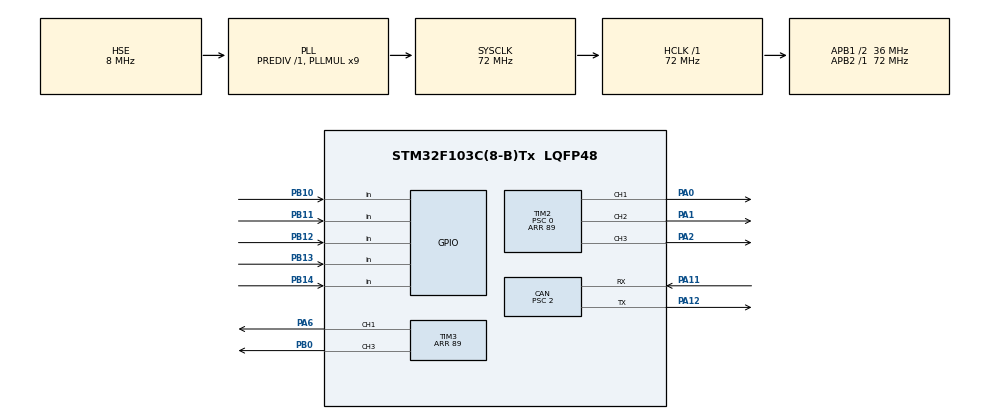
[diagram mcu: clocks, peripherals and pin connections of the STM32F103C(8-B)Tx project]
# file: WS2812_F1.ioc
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CAN.BS1=CAN_BS1_16TQ
CAN.CalculateBaudRate=1000000
CAN.CalculateTimeBit=1000
CAN.CalculateTimeQuantum=55.55555555555556
CAN.Prescaler=2
CAN.SJW=CAN_SJW_2TQ
Dma.Request0=TIM2_CH1
Dma.Request1=TIM2_CH3
Dma.Request2=TIM2_CH2/CH4
Dma.Request3=TIM3_CH1/TRIG
Dma.Request4=TIM3_CH3
Dma.TIM2_CH1.0.Direction=DMA_MEMORY_TO_PERIPH
Dma.TIM2_CH1.0.Instance=DMA1_Channel5
Dma.TIM2_CH1.0.MemDataAlignment=DMA_MDATAALIGN_HALFWORD
Dma.TIM2_CH1.0.MemInc=DMA_MINC_ENABLE
Dma.TIM2_CH1.0.Mode=DMA_NORMAL
Dma.TIM2_CH1.0.PeriphDataAlignment=DMA_PDATAALIGN_HALFWORD
Dma.TIM2_CH1.0.PeriphInc=DMA_PINC_DISABLE
Dma.TIM2_CH1.0.Priority=DMA_PRIORITY_LOW
Dma.TIM2_CH2/CH4.2.Direction=DMA_MEMORY_TO_PERIPH
Dma.TIM2_CH2/CH4.2.Instance=DMA1_Channel7
Dma.TIM2_CH2/CH4.2.MemDataAlignment=DMA_MDATAALIGN_HALFWORD
Dma.TIM2_CH2/CH4.2.MemInc=DMA_MINC_ENABLE
Dma.TIM2_CH2/CH4.2.Mode=DMA_NORMAL
Dma.TIM2_CH2/CH4.2.PeriphDataAlignment=DMA_PDATAALIGN_HALFWORD
Dma.TIM2_CH2/CH4.2.PeriphInc=DMA_PINC_DISABLE
Dma.TIM2_CH2/CH4.2.Priority=DMA_PRIORITY_LOW
Dma.TIM2_CH3.1.Direction=DMA_MEMORY_TO_PERIPH
Dma.TIM2_CH3.1.Instance=DMA1_Channel1
Dma.TIM2_CH3.1.MemDataAlignment=DMA_MDATAALIGN_HALFWORD
Dma.TIM2_CH3.1.MemInc=DMA_MINC_ENABLE
Dma.TIM2_CH3.1.Mode=DMA_NORMAL
Dma.TIM2_CH3.1.PeriphDataAlignment=DMA_PDATAALIGN_HALFWORD
Dma.TIM2_CH3.1.PeriphInc=DMA_PINC_DISABLE
Dma.TIM2_CH3.1.Priority=DMA_PRIORITY_LOW
Dma.TIM3_CH1/TRIG.3.Direction=DMA_MEMORY_TO_PERIPH
Dma.TIM3_CH1/TRIG.3.Instance=DMA1_Channel6
Dma.TIM3_CH1/TRIG.3.MemDataAlignment=DMA_MDATAALIGN_HALFWORD
Dma.TIM3_CH1/TRIG.3.MemInc=DMA_MINC_ENABLE
Dma.TIM3_CH1/TRIG.3.Mode=DMA_NORMAL
Dma.TIM3_CH1/TRIG.3.PeriphDataAlignment=DMA_PDATAALIGN_HALFWORD
Dma.TIM3_CH1/TRIG.3.PeriphInc=DMA_PINC_DISABLE
Dma.TIM3_CH1/TRIG.3.Priority=DMA_PRIORITY_LOW
Dma.TIM3_CH3.4.Direction=DMA_MEMORY_TO_PERIPH
Dma.TIM3_CH3.4.Instance=DMA1_Channel2
Dma.TIM3_CH3.4.MemDataAlignment=DMA_MDATAALIGN_HALFWORD
Dma.TIM3_CH3.4.MemInc=DMA_MINC_ENABLE
Dma.TIM3_CH3.4.Mode=DMA_NORMAL
Dma.TIM3_CH3.4.PeriphDataAlignment=DMA_PDATAALIGN_HALFWORD
Dma.TIM3_CH3.4.PeriphInc=DMA_PINC_DISABLE
Dma.TIM3_CH3.4.Priority=DMA_PRIORITY_LOW
Mcu.Family=STM32F1
Mcu.Name=STM32F103C(8-B)Tx
Mcu.Package=LQFP48
NVIC.DMA1_Channel1_IRQn=true\:0\:0\:false\:false\:true\:false\:true\:true
NVIC.DMA1_Channel2_IRQn=true\:0\:0\:false\:false\:true\:false\:true\:true
NVIC.DMA1_Channel5_IRQn=true\:0\:0\:false\:false\:true\:false\:true\:true
NVIC.DMA1_Channel6_IRQn=true\:0\:0\:false\:false\:true\:false\:true\:true
NVIC.DMA1_Channel7_IRQn=true\:0\:0\:false\:false\:true\:false\:true\:true
NVIC.PriorityGroup=NVIC_PRIORITYGROUP_4
NVIC.TIM2_IRQn=true\:0\:0\:false\:false\:true\:true\:true\:true
NVIC.USB_LP_CAN1_RX0_IRQn=true\:3\:0\:true\:false\:true\:true\:true\:true
PA0-WKUP.GPIO_Speed=GPIO_SPEED_FREQ_HIGH
PA0-WKUP.Signal=S_TIM2_CH1_ETR
PA1.GPIO_Speed=GPIO_SPEED_FREQ_HIGH
PA1.Signal=S_TIM2_CH2
PA11.Mode=CAN_Activate
PA11.Signal=CAN_RX
PA12.Mode=CAN_Activate
PA12.Signal=CAN_TX
PA13.Mode=Serial_Wire
PA13.Signal=SYS_JTMS-SWDIO
PA14.Mode=Serial_Wire
PA14.Signal=SYS_JTCK-SWCLK
PA2.GPIO_Speed=GPIO_SPEED_FREQ_HIGH
PA2.Signal=S_TIM2_CH3
PA6.GPIO_Speed=GPIO_SPEED_FREQ_HIGH
PA6.Signal=S_TIM3_CH1
PB0.GPIO_Speed=GPIO_SPEED_FREQ_HIGH
PB0.Signal=S_TIM3_CH3
PB10.GPIO_PuPd=GPIO_PULLUP
PB10.Signal=GPIO_Input
PB11.GPIO_PuPd=GPIO_PULLUP
PB11.Signal=GPIO_Input
PB12.GPIO_PuPd=GPIO_PULLUP
PB12.Signal=GPIO_Input
PB13.GPIO_PuPd=GPIO_PULLUP
PB13.Signal=GPIO_Input
PB14.GPIO_PuPd=GPIO_PULLUP
PB14.Signal=GPIO_Input
PD0-OSC_IN.Mode=HSE-External-Oscillator
PD0-OSC_IN.Signal=RCC_OSC_IN
PD1-OSC_OUT.Mode=HSE-External-Oscillator
PD1-OSC_OUT.Signal=RCC_OSC_OUT
ProjectManager.HeapSize=0x200
ProjectManager.StackSize=0x400
ProjectManager.TargetToolchain=MDK-ARM V5.32
RCC.AHBFreq_Value=72000000
RCC.APB1CLKDivider=RCC_HCLK_DIV2
RCC.APB1Freq_Value=36000000
RCC.APB1TimFreq_Value=72000000
RCC.APB2Freq_Value=72000000
RCC.APB2TimFreq_Value=72000000
RCC.HCLKFreq_Value=72000000
RCC.PLLMUL=RCC_PLL_MUL9
RCC.PLLSourceVirtual=RCC_PLLSOURCE_HSE
RCC.SYSCLKFreq_VALUE=72000000
RCC.SYSCLKSource=RCC_SYSCLKSOURCE_PLLCLK
RCC.USBFreq_Value=72000000
SH.S_TIM2_CH1_ETR.0=TIM2_CH1,PWM Generation1 CH1
SH.S_TIM2_CH2.0=TIM2_CH2,PWM Generation2 CH2
SH.S_TIM2_CH3.0=TIM2_CH3,PWM Generation3 CH3
SH.S_TIM3_CH1.0=TIM3_CH1,PWM Generation1 CH1
SH.S_TIM3_CH3.0=TIM3_CH3,PWM Generation3 CH3
TIM2.Channel-PWM\ Generation1\ CH1=TIM_CHANNEL_1
TIM2.Channel-PWM\ Generation2\ CH2=TIM_CHANNEL_2
TIM2.Channel-PWM\ Generation3\ CH3=TIM_CHANNEL_3
TIM2.Period=89
TIM2.Prescaler=0
TIM3.Channel-PWM\ Generation1\ CH1=TIM_CHANNEL_1
TIM3.Channel-PWM\ Generation3\ CH3=TIM_CHANNEL_3
TIM3.Period=89
VP_TIM2_VS_ClockSourceINT.Mode=Internal
VP_TIM3_VS_ClockSourceINT.Mode=Internal
board=custom

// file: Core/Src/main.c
/* USER CODE BEGIN Header */
/**
  ******************************************************************************
  * @file           : main.c
  * @brief          : Main program body
  ******************************************************************************
  * @attention
  *
  * Copyright (c) 2025 STMicroelectronics.
  * All rights reserved.
  *
  * This software is licensed under terms that can be found in the LICENSE file
  * in the root directory of this software component.
  * If no LICENSE file comes with this software, it is provided AS-IS.
  *
  ******************************************************************************
  */
/* USER CODE END Header */
#include "main.h"
#include "can.h"
#include "dma.h"
#include "tim.h"
#include "gpio.h"

/* USER CODE BEGIN Includes */
#include "WS2812.h"
#include "led_rings.h"
#include "can_task.h"

/* USER CODE END Includes */

/* USER CODE BEGIN PD */
/**
 * @brief GPIO
 */

/* USER CODE END PD */

/* USER CODE BEGIN PV */
static uint8_t key_lock = 0;

#define HIT_FEEDBACK_ID  0x341

uint8_t tx_data[8] = {0};
/* USER CODE END PV */

void SystemClock_Config(void);

int main(void)
{

  /* MCU Configuration--------------------------------------------------------*/

  /* Reset of all peripherals, Initializes the Flash interface and the Systick. */
  HAL_Init();

  /* Configure the system clock */
  SystemClock_Config();

  /* Initialize all configured peripherals */
  MX_GPIO_Init();
  MX_DMA_Init();
  MX_TIM2_Init();
  MX_CAN_Init();
  MX_TIM3_Init();
  /* USER CODE BEGIN 2 */
	//CAN_Filter_Init();
	WS2812_Init();
	WS2812_SetAll(255, 0, 0);
	WS2812_SendAll();

  /* USER CODE END 2 */

  /* Infinite loop */
  /* USER CODE BEGIN WHILE */
  while (1)
  {
		if (
    HAL_GPIO_ReadPin(GPIOB, GPIO_PIN_10) == GPIO_PIN_RESET ||
    HAL_GPIO_ReadPin(GPIOB, GPIO_PIN_11) == GPIO_PIN_RESET ||
    HAL_GPIO_ReadPin(GPIOB, GPIO_PIN_12) == GPIO_PIN_RESET ||
    HAL_GPIO_ReadPin(GPIOB, GPIO_PIN_13) == GPIO_PIN_RESET ||
    HAL_GPIO_ReadPin(GPIOB, GPIO_PIN_14) == GPIO_PIN_RESET)
{
    if (key_lock == 0)
    {
        key_lock = 1;

        if (a == 1)
        {
            ArmorLED_ShowOff();
            a = 0;
            RUI_F_CAN_SEDN_UNION(&hcan, HIT_FEEDBACK_ID, tx_data);
        }
    }
}
else
{
    key_lock = 0;
}
    /* USER CODE END WHILE */

  }
}

void SystemClock_Config(void)
{
  RCC_OscInitTypeDef RCC_OscInitStruct = {0};
  RCC_ClkInitTypeDef RCC_ClkInitStruct = {0};

  /** Initializes the RCC Oscillators according to the specified parameters
  * in the RCC_OscInitTypeDef structure.
  */
  RCC_OscInitStruct.OscillatorType = RCC_OSCILLATORTYPE_HSE;
  RCC_OscInitStruct.HSEState = RCC_HSE_ON;
  RCC_OscInitStruct.HSEPredivValue = RCC_HSE_PREDIV_DIV1;
  RCC_OscInitStruct.HSIState = RCC_HSI_ON;
  RCC_OscInitStruct.PLL.PLLState = RCC_PLL_ON;
  RCC_OscInitStruct.PLL.PLLSource = RCC_PLLSOURCE_HSE;
  RCC_OscInitStruct.PLL.PLLMUL = RCC_PLL_MUL9;
  if (HAL_RCC_OscConfig(&RCC_OscInitStruct) != HAL_OK)
  {
    Error_Handler();
  }

  /** Initializes the CPU, AHB and APB buses clocks
  */
  RCC_ClkInitStruct.ClockType = RCC_CLOCKTYPE_HCLK|RCC_CLOCKTYPE_SYSCLK
                              |RCC_CLOCKTYPE_PCLK1|RCC_CLOCKTYPE_PCLK2;
  RCC_ClkInitStruct.SYSCLKSource = RCC_SYSCLKSOURCE_PLLCLK;
  RCC_ClkInitStruct.AHBCLKDivider = RCC_SYSCLK_DIV1;
  RCC_ClkInitStruct.APB1CLKDivider = RCC_HCLK_DIV2;
  RCC_ClkInitStruct.APB2CLKDivider = RCC_HCLK_DIV1;

  if (HAL_RCC_ClockConfig(&RCC_ClkInitStruct, FLASH_LATENCY_2) != HAL_OK)
  {
    Error_Handler();
  }
}

void Error_Handler(void)
{
  __disable_irq();
  while (1)
  {
  }
}
